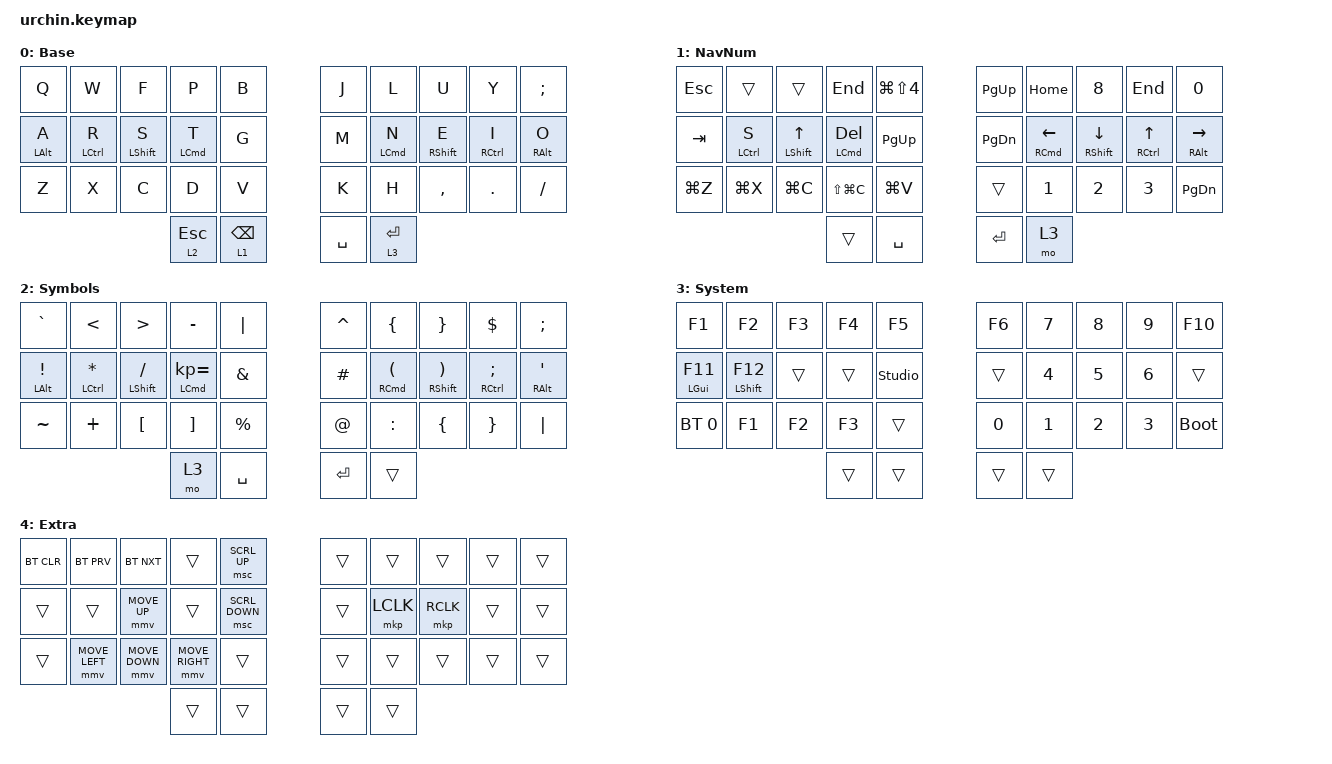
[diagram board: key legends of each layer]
#include <behaviors.dtsi>
#include <dt-bindings/zmk/bt.h>
#include <dt-bindings/zmk/keys.h>
#include <dt-bindings/zmk/pointing.h>

#define DEF 0
#define NAV 1
#define SYM 2
#define ADJ 3
#define EXTRA 4

/ {
    behaviors {
        hm: homerow_mods {
            compatible = "zmk,behavior-hold-tap";
            #binding-cells = <2>;
            tapping-term-ms = <200>;
            flavor = "tap-preferred";
            bindings = <&kp>, <&kp>;

            quick-tap-ms = <180>;
            require-prior-idle-ms = <120>;
        };

        para: para {
            compatible = "zmk,behavior-tap-dance";
            #binding-cells = <0>;
            bindings = <&kp LEFT_PARENTHESIS>, <&kp RIGHT_PARENTHESIS>;
        };

        caps: caps {
            compatible = "zmk,behavior-caps-word";
            #binding-cells = <0>;
            continue-list = <MINUS BACKSPACE>;
        };

        paraless: paraless {
            compatible = "zmk,behavior-mod-morph";
            bindings = <&kp LEFT_PARENTHESIS>, <&kp LESS_THAN>;

            #binding-cells = <0>;
            mods = <(MOD_LSFT)>;
        };

        paragreat: paragreat {
            compatible = "zmk,behavior-mod-morph";
            bindings = <&kp RIGHT_PARENTHESIS>, <&kp GREATER_THAN>;

            #binding-cells = <0>;
            mods = <(MOD_LSFT)>;
        };
    };

    macros {
        browsertab: browsertab {
            compatible = "zmk,behavior-macro";
            #binding-cells = <0>;
            bindings =
                <&macro_press>,
                <&kp LCTRL>,
                <&macro_tap>,
                <&kp TAB>,
                <&macro_release>,
                <&kp LCTRL>;
        };
    };

    combos {
        compatible = "zmk,combos";

        // TAB: hold rightmost left thumb (lt 1 BACKSPACE = pos 33) + Z (pos 20)

        tab {
            bindings = <&kp TAB>;
            key-positions = <20 33>;
            layers = <0>;
        };

        escape {
            bindings = <&kp ESCAPE>;
            key-positions = <13 29>;
        };

        delete {
            bindings = <&kp DELETE>;
            key-positions = <15 21>;
        };

        perc {
            bindings = <&kp PERCENT>;
            key-positions = <5 17>;
            layers = <0>;
        };

        equal {
            bindings = <&kp EQUAL>;
            key-positions = <28 16>;
            layers = <0>;
        };

        dollar {
            bindings = <&kp DOLLAR>;
            key-positions = <4 16>;
            layers = <0>;
        };

        pound {
            bindings = <&kp POUND>;
            key-positions = <3 15>;
            layers = <0>;
        };

        at {
            bindings = <&kp AT>;
            key-positions = <2 14>;
            layers = <0>;
        };

        backslash {
            bindings = <&kp BACKSLASH>;
            key-positions = <26 14>;
            layers = <0>;
        };

        star {
            bindings = <&kp STAR>;
            key-positions = <8 20>;
            layers = <0>;
        };

        slash {
            bindings = <&kp SLASH>;
            key-positions = <32 20>;
            layers = <0>;
        };

        plus {
            bindings = <&kp PLUS>;
            key-positions = <7 19>;
            layers = <0>;
        };

        minus {
            bindings = <&kp KP_MINUS>;
            key-positions = <31 19>;
            layers = <0>;
        };

        underscore {
            bindings = <&kp UNDER>;
            key-positions = <30 18>;
            layers = <0>;
        };

        leftbrack {
            bindings = <&kp LEFT_BRACKET>;
            key-positions = <31 32>;
            layers = <0>;
        };

        rightbrack {
            bindings = <&kp RIGHT_BRACKET>;
            key-positions = <33 32>;
            layers = <0>;
        };

        para-less {
            bindings = <&paraless>;
            key-positions = <20 19>;
            layers = <0>;
        };

        para-great {
            bindings = <&paragreat>;
            key-positions = <20 21>;
            layers = <0>;
        };
    };

    keymap {
        compatible = "zmk,keymap";

        // 34-key layout, rows of 10 + 4 thumbs
        // Row 0: 0-9
        // Row 1: 10-19
        // Row 2: 20-29
        // Thumbs: 30 31 | 32 33

        DEF {
            display-name = "Base";
            bindings = <
&kp Q           &kp W               &kp F             &kp P               &kp B            &kp J      &kp L               &kp U              &kp Y                &kp SEMI
&hm LEFT_ALT A  &hm LEFT_CONTROL R  &hm LEFT_SHIFT S  &hm LEFT_COMMAND T  &kp G            &kp M      &hm LEFT_COMMAND N  &hm RIGHT_SHIFT E  &hm RIGHT_CONTROL I  &hm RIGHT_ALT O
&kp Z           &kp X               &kp C             &kp D               &kp V            &kp K      &kp H               &kp COMMA          &kp DOT              &kp FSLH
                                                      &lt 2 ESCAPE        &lt 1 BACKSPACE  &kp SPACE  &lt 3 RETURN
            >;
        };

        NAV {
            display-name = "NavNum";
            bindings = <
&kp ESC    &trans              &trans                   &kp END               &kp LG(LS(NUMBER_4))  &kp PAGE_UP    &kp HOME                &kp N8                &kp END                     &kp N0
&kp TAB    &hm LEFT_CONTROL S  &hm LEFT_SHIFT UP_ARROW  &hm LEFT_COMMAND DEL  &kp PAGE_UP           &kp PAGE_DOWN  &hm RIGHT_COMMAND LEFT  &hm RIGHT_SHIFT DOWN  &hm RIGHT_CONTROL UP_ARROW  &hm RIGHT_ALT RIGHT_ARROW
&kp LG(Z)  &kp LG(X)           &kp LG(C)                &kp LS(LG(C))         &kp LG(V)             &trans         &kp N1                  &kp N2                &kp N3                      &kp PAGE_DOWN
                                                        &trans                &kp SPACE             &kp RET        &mo 3
            >;
        };

        SYM {
            display-name = "Symbols";
            bindings = <
&kp GRAVE          &kp LESS_THAN           &kp GREATER_THAN      &kp MINUS                  &kp PIPE       &kp CARET  &kp LEFT_BRACE                      &kp RIGHT_BRACE                    &kp DOLLAR              &kp SEMI
&hm LEFT_ALT EXCL  &hm LEFT_CONTROL ASTRK  &hm LEFT_SHIFT SLASH  &hm LEFT_COMMAND KP_EQUAL  &kp AMPERSAND  &kp HASH   &hm RIGHT_COMMAND LEFT_PARENTHESIS  &hm RIGHT_SHIFT RIGHT_PARENTHESIS  &hm RIGHT_CONTROL SEMI  &hm RIGHT_ALT SINGLE_QUOTE
&kp TILDE          &kp PLUS                &kp LEFT_BRACKET      &kp RIGHT_BRACKET          &kp PERCENT    &kp AT     &kp COLON                           &kp LBRC                           &kp RBRC                &kp PIPE
                                                                 &mo 3                      &kp SPACE      &kp RET    &trans
            >;
        };

        ADJ {
            display-name = "System";
            bindings = <
&kp F1        &kp F2         &kp F3  &kp F4  &kp F5          &kp F6        &kp N7        &kp N8        &kp N9        &kp F10
&hm LGUI F11  &hm LSHFT F12  &trans  &trans  &studio_unlock  &trans        &kp NUMBER_4  &kp N5        &kp NUMBER_6  &trans
&bt BT_SEL 0  &kp F1         &kp F2  &kp F3  &trans          &kp NUMBER_0  &kp NUMBER_1  &kp NUMBER_2  &kp NUMBER_3  &bootloader
                                     &trans  &trans          &trans        &trans
            >;
        };

        EXTRA {
            display-name = "Extra";
            bindings = <
&bt BT_CLR  &bt BT_PRV      &bt BT_NXT      &trans           &msc SCRL_UP    &trans  &trans     &trans     &trans  &trans
&trans      &trans          &mmv MOVE_UP    &trans           &msc SCRL_DOWN  &trans  &mkp LCLK  &mkp RCLK  &trans  &trans
&trans      &mmv MOVE_LEFT  &mmv MOVE_DOWN  &mmv MOVE_RIGHT  &trans          &trans  &trans     &trans     &trans  &trans
                                            &trans           &trans          &trans  &trans
            >;
        };
    };
};
